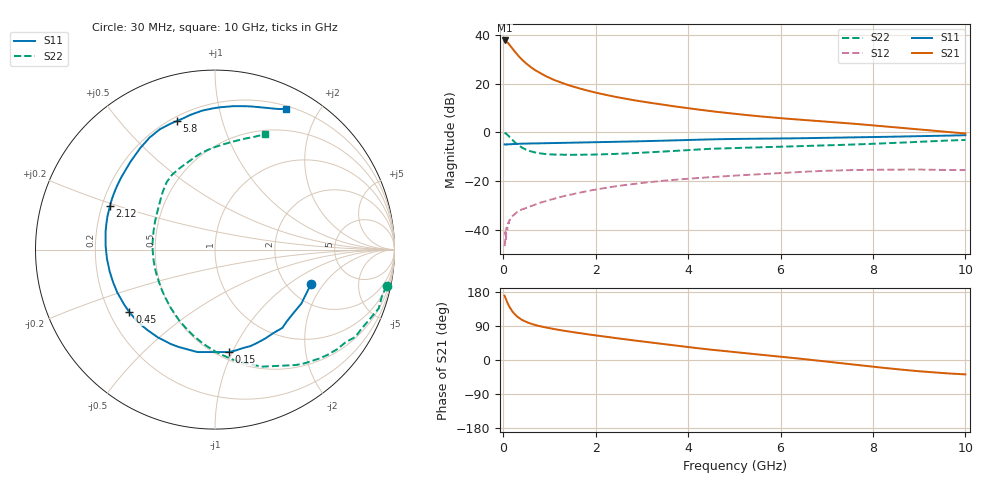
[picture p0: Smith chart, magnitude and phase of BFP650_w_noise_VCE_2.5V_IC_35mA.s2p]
! Infineon Technologies  Discrete & RF Semiconductors
! BFP650
! VCE =  2.5 V,  IC =  35 mA
! Common Emitter S-Parameters:  Jan 2016
# GHz  S  MA  R  50
!  f  S11  S21  S12  S22
! GHz  MAG  ANG  MAG  ANG  MAG  ANG  MAG  ANG
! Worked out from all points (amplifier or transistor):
!   229 points, 30 MHz to 10 GHz, reference 50 ohm
!   highest |S21| = 37.8 dB at 30 MHz (marker M1)
!   |S21| within 3 dB of that: start of sweep to 185.1 MHz
!   unconditionally stable (mu >= 1): 2.125 GHz to end of sweep
!   at 280 MHz: K = 0.36, MSG = 32.8 dB, |S12| = -33.1 dB
!   at 1.78 GHz: K = 0.97, MSG = 20.8 dB, |S12| = -24.2 dB
!   at 10 GHz: K = 1.04, MAG = 6.4 dB, |S12| = -15.5 dB
!   lowest NFmin = 0.81 dB at 450 MHz
!   S11 on the Smith chart (normalised r, x): 30 MHz: 2.69, -1.51; 150 MHz: 0.57, -0.97; 450 MHz: 0.28, -0.30; 2.12 GHz: 0.23, +0.19; 5.8 GHz: 0.22, +0.72; 10 GHz: 0.24, +1.60
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0.03  0.5689 -19.5  77.83 169.7  0.0046 71.3  0.9771 -11.9
0.05  0.5673 -32.1  76.04 162.9  0.0091 87.1  0.9691 -19.8
0.06  0.5622 -38.1  75.61 160.2  0.0064 71.8  0.9436 -24.4
0.08  0.5754 -49.3  72.75 154.1  0.0103 82.3  0.9214 -31.8
0.11  0.5702 -65.4  67.9 146.2  0.014 65.8  0.859 -43.0
0.15  0.576 -82.4  60.84 137.1  0.0164 61.6  0.7851 -55.0
0.2  0.5792 -99.8  52.91 127.7  0.0191 53.5  0.7015 -68.4
0.24  0.579 -110.5  47.35 122.0  0.0205 51.0  0.643 -77.1
0.28  0.5808 -119.2  42.57 117.2  0.0222 49.1  0.5942 -85.0
0.36  0.5866 -132.9  34.84 109.4  0.0251 48.7  0.521 -98.5
0.45  0.5908 -143.8  28.69 103.0  0.027 47.0  0.4643 -110.8
0.6  0.5947 -156.2  21.91 95.7  0.0306 47.6  0.4086 -126.9
0.9  0.6008 -171.4  14.7 86.4  0.0379 48.2  0.3613 -149.4
1.24  0.6101 177.4  10.7 78.7  0.0472 48.7  0.3482 -166.3
1.7  0.6228 166.0  7.785 70.2  0.059 47.1  0.3479 177.5
2.12  0.634 157.4  6.221 63.1  0.0701 44.7  0.3544 166.3
3.4  0.674 135.6  3.786 43.1  0.1005 33.7  0.4022 140.5
5.1  0.7383 113.5  2.365 19.7  0.1313 17.7  0.4831 118.6
5.8  0.7468 106.6  2.042 11.2  0.1432 11.5  0.5025 109.9
6.8  0.771 97.3  1.727 -1.4  0.1602 1.5  0.5365 99.8
8.4  0.8176 77.7  1.296 -22.8  0.1722 -15.6  0.6058 81.4
10  0.8773 63.2  0.952 -38.0  0.1684 -28.3  0.7022 66.8
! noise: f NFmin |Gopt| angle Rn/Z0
0.45  0.81  0.09  148  1.85
0.9  0.85  0.32  -170  0.08
1.9  0.98  0.37  -157  0.07
2.4  1.06  0.38  -146  0.07
3.5  1.26  0.4  -123  0.13
